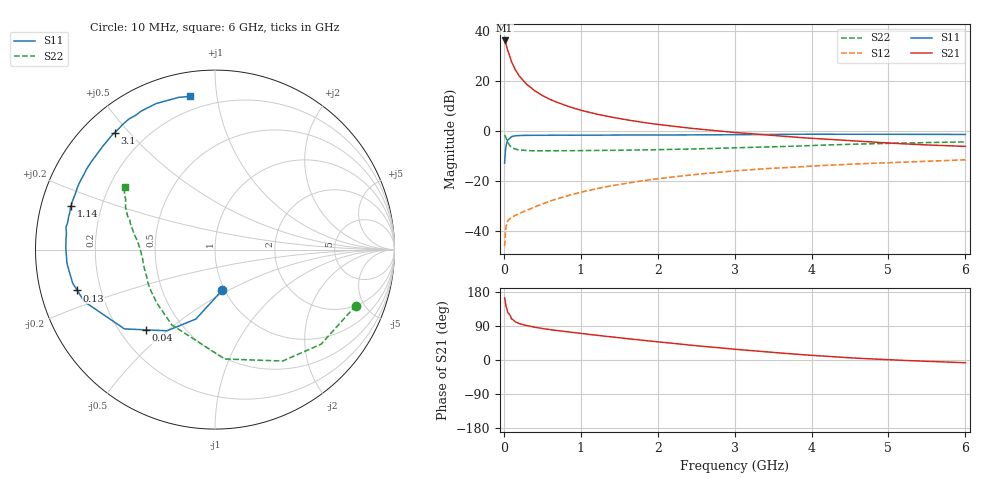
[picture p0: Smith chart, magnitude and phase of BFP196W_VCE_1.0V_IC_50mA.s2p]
! Infineon Technologies  Discrete & RF Semiconductors
! BFP196W
! VCE = 1.0 V,  IC =  50mA
! Common Emitter S-Parameters:  Jan 2016
# GHz  S  MA  R  50
!  f  S11  S21  S12  S22
! GHz  MAG  ANG  MAG  ANG  MAG  ANG  MAG  ANG
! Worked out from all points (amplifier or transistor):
!   210 points, 10 MHz to 6 GHz, reference 50 ohm
!   highest |S21| = 36.4 dB at 10 MHz (marker M1)
!   |S21| within 3 dB of that: start of sweep to 41.63 MHz
!   unconditionally stable (mu >= 1): 501.6 MHz to 3.508 GHz; 4.906 GHz to 5.286 GHz; 5.649 GHz to end of sweep (the widest 3 of 4)
!   at 185 MHz: K = 0.60, MSG = 28.1 dB, |S12| = -33.2 dB
!   at 1.52 GHz: K = 1.14, MAG = 10.8 dB, |S12| = -21.2 dB
!   at 6 GHz: K = 1.01, MAG = 2.0 dB, |S12| = -11.4 dB
!   S11 on the Smith chart (normalised r, x): 10 MHz: 0.97, -0.47; 40 MHz: 0.31, -0.42; 130 MHz: 0.11, -0.14; 1.14 GHz: 0.09, +0.15; 3.1 GHz: 0.09, +0.46; 6 GHz: 0.13, +0.84
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0.01  0.2307 -80.2  66.07 163.9  0.005 73.8  0.8439 -21.7
0.02  0.4015 -105.4  61.41 151.6  0.0092 65.1  0.7921 -41.7
0.03  0.5255 -120.6  54.64 140.9  0.0124 57.4  0.7264 -58.7
0.04  0.5907 -130.8  47.81 134.4  0.0142 49.9  0.6519 -70.7
0.05  0.6708 -138.8  41.81 125.8  0.0161 44.2  0.6119 -84.9
0.1  0.7835 -158.3  24.54 108.7  0.019 36.1  0.4836 -119.8
0.13  0.8002 -163.5  19.92 104.5  0.02 36.0  0.4522 -130.0
0.15  0.8149 -166.8  16.93 100.5  0.0207 36.0  0.4401 -137.4
0.2  0.8211 -171.5  12.82 96.2  0.0224 39.5  0.4244 -147.4
0.24  0.827 -174.1  10.85 93.6  0.024 41.5  0.4186 -152.3
0.3  0.828 -176.9  8.608 90.6  0.0261 45.2  0.4097 -158.2
0.4  0.8313 179.4  6.495 86.4  0.0305 49.8  0.4075 -163.7
0.5  0.8323 176.4  5.223 83.1  0.035 53.3  0.4073 -167.6
0.6  0.8325 173.9  4.358 80.1  0.04 56.1  0.407 -170.3
0.8  0.8343 169.4  3.293 74.9  0.0498 59.1  0.4068 -173.6
1.02  0.8354 165.4  2.598 69.7  0.0611 60.6  0.4105 -176.4
1.14  0.8386 163.2  2.343 66.9  0.0674 60.6  0.4118 -177.6
2.02  0.8445 147.9  1.365 47.5  0.1129 57.2  0.4288 175.5
3.1  0.8584 130.6  0.923 26.7  0.1651 47.6  0.4714 166.6
4.1  0.874 116.9  0.709 11.1  0.2048 38.5  0.5259 158.3
5.1  0.8712 106.4  0.571 -0.3  0.2383 30.0  0.5762 150.1
6  0.8642 99.1  0.499 -7.2  0.2683 23.6  0.6121 145.3
